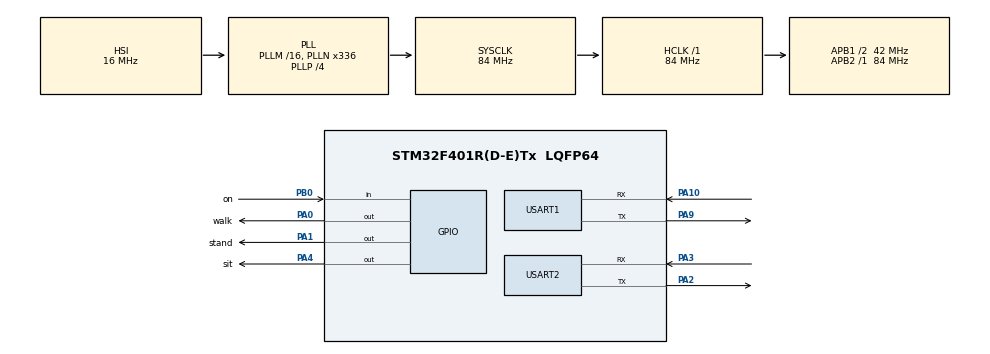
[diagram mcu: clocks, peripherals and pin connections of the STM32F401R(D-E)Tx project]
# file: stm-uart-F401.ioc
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Mcu.Family=STM32F4
Mcu.Name=STM32F401R(D-E)Tx
Mcu.Package=LQFP64
NVIC.PriorityGroup=NVIC_PRIORITYGROUP_0
NVIC.USART1_IRQn=true\:0\:0\:false\:false\:true\:true\:true\:true
PA0-WKUP.GPIO_Label=walk
PA0-WKUP.GPIO_Speed=GPIO_SPEED_FREQ_VERY_HIGH
PA0-WKUP.Signal=GPIO_Output
PA1.GPIO_Label=stand
PA1.GPIO_Speed=GPIO_SPEED_FREQ_VERY_HIGH
PA1.Signal=GPIO_Output
PA10.Mode=Asynchronous
PA10.Signal=USART1_RX
PA2.Mode=Asynchronous
PA2.Signal=USART2_TX
PA3.Mode=Asynchronous
PA3.Signal=USART2_RX
PA4.GPIO_Label=sit
PA4.GPIO_Speed=GPIO_SPEED_FREQ_VERY_HIGH
PA4.Signal=GPIO_Output
PA9.Mode=Asynchronous
PA9.Signal=USART1_TX
PB0.GPIO_Label=on
PB0.GPIO_PuPd=GPIO_PULLUP
PB0.Signal=GPIO_Input
ProjectManager.HeapSize=0x200
ProjectManager.StackSize=0x400
ProjectManager.TargetToolchain=STM32CubeIDE
RCC.48MHZClocksFreq_Value=48000000
RCC.AHBFreq_Value=84000000
RCC.APB1CLKDivider=RCC_HCLK_DIV2
RCC.APB1Freq_Value=42000000
RCC.APB1TimFreq_Value=84000000
RCC.APB2Freq_Value=84000000
RCC.APB2TimFreq_Value=84000000
RCC.CortexFreq_Value=84000000
RCC.HCLKFreq_Value=84000000
RCC.HSE_VALUE=8000000
RCC.HSI_VALUE=16000000
RCC.LSE_VALUE=32768
RCC.PLLN=336
RCC.PLLP=RCC_PLLP_DIV4
RCC.PLLQ=7
RCC.SYSCLKFreq_VALUE=84000000
RCC.SYSCLKSource=RCC_SYSCLKSOURCE_PLLCLK
RCC.VCOOutputFreq_Value=336000000
USART1.VirtualMode=VM_ASYNC
USART2.VirtualMode=VM_ASYNC
board=NUCLEO-F401RE

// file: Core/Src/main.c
/* USER CODE BEGIN Header */
/**
  ******************************************************************************
  * @file           : main.c
  * @brief          : Main program body
  ******************************************************************************
  * @attention
  *
  * Copyright (c) 2023 STMicroelectronics.
  * All rights reserved.
  *
  * This software is licensed under terms that can be found in the LICENSE file
  * in the root directory of this software component.
  * If no LICENSE file comes with this software, it is provided AS-IS.
  *
  ******************************************************************************
  */
/* USER CODE END Header */
#include "main.h"

/* USER CODE BEGIN Includes */
#include <stdio.h>
#include <string.h>
#include <time.h>
/* USER CODE END Includes */

UART_HandleTypeDef huart1;
UART_HandleTypeDef huart2;

/* USER CODE BEGIN PV */
#define BUFFER_SIZE 4
uint8_t dataReceived[BUFFER_SIZE] = {7};
uint8_t receiveSize = 0;
HAL_StatusTypeDef status_rx = 0;
uint8_t buttonOnOff = 0;
/* USER CODE END PV */

void SystemClock_Config(void);
static void MX_GPIO_Init(void);
static void MX_USART1_UART_Init(void);
static void MX_USART2_UART_Init(void);

/* USER CODE BEGIN 0 */
int	_write(int file, char *ptr, int len) {
//	for (int i = 0; i < len; i++) {
//		ITM_SendChar((*ptr++));
//	}
	HAL_UART_Transmit(&huart2, (uint8_t *)ptr, len, HAL_MAX_DELAY);
		return (len);
}
/* USER CODE END 0 */

int main(void)
{

  /* MCU Configuration--------------------------------------------------------*/

  /* Reset of all peripherals, Initializes the Flash interface and the Systick. */
  HAL_Init();

  /* Configure the system clock */
  SystemClock_Config();

  /* Initialize all configured peripherals */
  MX_GPIO_Init();
  MX_USART1_UART_Init();
  MX_USART2_UART_Init();

  /* Infinite loop */
  /* USER CODE BEGIN WHILE */
  printf("\n\n\n\n\n\n\n\n\n\n\n\n\n\n\r\nDEBUT BUENO\n\n\n\n\n\n\n\n\n\n\n");
  HAL_UART_Receive_IT(&huart1, dataReceived, BUFFER_SIZE);
  while (1)
  {
    /* USER CODE END WHILE */

    /* USER CODE BEGIN 3 */
	  if (HAL_GPIO_ReadPin(on_GPIO_Port, on_Pin) == GPIO_PIN_RESET) {
		  if (buttonOnOff == 1) {
			  buttonOnOff = 0;
			  uint8_t msg[BUFFER_SIZE] = "S0\r\n";
			  printf("buttonOnOff = 0\r\n");
			  HAL_UART_Transmit_IT(&huart1, msg, BUFFER_SIZE);
			  HAL_Delay(500);
		  } else {
			  buttonOnOff = 1;
			  uint8_t msg[BUFFER_SIZE] = "S1\r\n";
			  printf("buttonOnOff = 1\r\n");
			  HAL_UART_Transmit_IT(&huart1, msg, BUFFER_SIZE);
			  HAL_Delay(500);
		  }
	  }

//	  printf("EXO_STATUS: %d\r\n", HAL_GPIO_ReadPin(on_GPIO_Port, on_Pin));
//	  if (HAL_GPIO_ReadPin(on_GPIO_Port, on_Pin) == GPIO_PIN_RESET && buttonOnOff == 0) {
//		  buttonOnOff = 1;
//		  uint8_t msg[BUFFER_SIZE] = "S1\r\n";
//		  printf("exo_status = 1\r\n");
//		  	HAL_UART_Transmit_IT(&huart1, msg, BUFFER_SIZE);
//	  } else if (HAL_GPIO_ReadPin(on_GPIO_Port, on_Pin) == GPIO_PIN_SET && buttonOnOff == 1) {
//		  buttonOnOff = 0;
//		  uint8_t msg[BUFFER_SIZE] = "S0\r\n";
//		  printf("exo_status = 0\r\n");
//		  HAL_UART_Transmit_IT(&huart1, msg, BUFFER_SIZE);
//	  }
  }
  /* USER CODE END 3 */
}

void SystemClock_Config(void)
{
  RCC_OscInitTypeDef RCC_OscInitStruct = {0};
  RCC_ClkInitTypeDef RCC_ClkInitStruct = {0};

  /** Configure the main internal regulator output voltage
  */
  __HAL_RCC_PWR_CLK_ENABLE();
  __HAL_PWR_VOLTAGESCALING_CONFIG(PWR_REGULATOR_VOLTAGE_SCALE2);

  /** Initializes the RCC Oscillators according to the specified parameters
  * in the RCC_OscInitTypeDef structure.
  */
  RCC_OscInitStruct.OscillatorType = RCC_OSCILLATORTYPE_HSI;
  RCC_OscInitStruct.HSIState = RCC_HSI_ON;
  RCC_OscInitStruct.HSICalibrationValue = RCC_HSICALIBRATION_DEFAULT;
  RCC_OscInitStruct.PLL.PLLState = RCC_PLL_ON;
  RCC_OscInitStruct.PLL.PLLSource = RCC_PLLSOURCE_HSI;
  RCC_OscInitStruct.PLL.PLLM = 16;
  RCC_OscInitStruct.PLL.PLLN = 336;
  RCC_OscInitStruct.PLL.PLLP = RCC_PLLP_DIV4;
  RCC_OscInitStruct.PLL.PLLQ = 7;
  if (HAL_RCC_OscConfig(&RCC_OscInitStruct) != HAL_OK)
  {
    Error_Handler();
  }

  /** Initializes the CPU, AHB and APB buses clocks
  */
  RCC_ClkInitStruct.ClockType = RCC_CLOCKTYPE_HCLK|RCC_CLOCKTYPE_SYSCLK
                              |RCC_CLOCKTYPE_PCLK1|RCC_CLOCKTYPE_PCLK2;
  RCC_ClkInitStruct.SYSCLKSource = RCC_SYSCLKSOURCE_PLLCLK;
  RCC_ClkInitStruct.AHBCLKDivider = RCC_SYSCLK_DIV1;
  RCC_ClkInitStruct.APB1CLKDivider = RCC_HCLK_DIV2;
  RCC_ClkInitStruct.APB2CLKDivider = RCC_HCLK_DIV1;

  if (HAL_RCC_ClockConfig(&RCC_ClkInitStruct, FLASH_LATENCY_2) != HAL_OK)
  {
    Error_Handler();
  }
}

static void MX_USART1_UART_Init(void)
{

  huart1.Instance = USART1;
  huart1.Init.BaudRate = 115200;
  huart1.Init.WordLength = UART_WORDLENGTH_8B;
  huart1.Init.StopBits = UART_STOPBITS_1;
  huart1.Init.Parity = UART_PARITY_NONE;
  huart1.Init.Mode = UART_MODE_TX_RX;
  huart1.Init.HwFlowCtl = UART_HWCONTROL_NONE;
  huart1.Init.OverSampling = UART_OVERSAMPLING_16;
  if (HAL_UART_Init(&huart1) != HAL_OK)
  {
    Error_Handler();
  }

}

static void MX_USART2_UART_Init(void)
{

  huart2.Instance = USART2;
  huart2.Init.BaudRate = 115200;
  huart2.Init.WordLength = UART_WORDLENGTH_8B;
  huart2.Init.StopBits = UART_STOPBITS_1;
  huart2.Init.Parity = UART_PARITY_NONE;
  huart2.Init.Mode = UART_MODE_TX_RX;
  huart2.Init.HwFlowCtl = UART_HWCONTROL_NONE;
  huart2.Init.OverSampling = UART_OVERSAMPLING_16;
  if (HAL_UART_Init(&huart2) != HAL_OK)
  {
    Error_Handler();
  }

}

static void MX_GPIO_Init(void)
{
  GPIO_InitTypeDef GPIO_InitStruct = {0};

  /* GPIO Ports Clock Enable */
  __HAL_RCC_GPIOA_CLK_ENABLE();
  __HAL_RCC_GPIOB_CLK_ENABLE();

  /*Configure GPIO pin Output Level */
  HAL_GPIO_WritePin(GPIOA, walk_Pin|stand_Pin|sit_Pin, GPIO_PIN_RESET);

  /*Configure GPIO pins : walk_Pin stand_Pin sit_Pin */
  GPIO_InitStruct.Pin = walk_Pin|stand_Pin|sit_Pin;
  GPIO_InitStruct.Mode = GPIO_MODE_OUTPUT_PP;
  GPIO_InitStruct.Pull = GPIO_NOPULL;
  GPIO_InitStruct.Speed = GPIO_SPEED_FREQ_VERY_HIGH;
  HAL_GPIO_Init(GPIOA, &GPIO_InitStruct);

  /*Configure GPIO pin : on_Pin */
  GPIO_InitStruct.Pin = on_Pin;
  GPIO_InitStruct.Mode = GPIO_MODE_INPUT;
  GPIO_InitStruct.Pull = GPIO_PULLUP;
  HAL_GPIO_Init(on_GPIO_Port, &GPIO_InitStruct);

}

/* USER CODE BEGIN 4 */
void analyze_positions(uint8_t *msg)
{
	if (strlen((char *)msg) < 2) {
		printf("Erreur msg trop court\n");
		return;
	}
	if (msg[0] == 'P') {
		HAL_GPIO_WritePin(sit_GPIO_Port, sit_Pin, GPIO_PIN_RESET);
		HAL_GPIO_WritePin(stand_GPIO_Port, stand_Pin, GPIO_PIN_RESET);
		HAL_GPIO_WritePin(walk_GPIO_Port, walk_Pin, GPIO_PIN_RESET);
		switch (msg[1]) {
			case '1':
				printf("Assis\n");
				HAL_GPIO_WritePin(sit_GPIO_Port, sit_Pin, GPIO_PIN_SET);
				break;
			case '2':
				printf("Debout\n");
				HAL_GPIO_WritePin(stand_GPIO_Port, stand_Pin, GPIO_PIN_SET);
				break;
			case '3':
				printf("Walk\n");
				HAL_GPIO_WritePin(walk_GPIO_Port, walk_Pin, GPIO_PIN_SET);
				break;
			default:
				printf("Erreur : analyze_positions msg[1] = %c\n", msg[1]);
				break;
		}
	}
}

void HAL_UART_RxCpltCallback(UART_HandleTypeDef *huart)
{
	printf("%s\r\n", dataReceived);
	analyze_positions(dataReceived);
	HAL_UART_Transmit_IT(&huart1, dataReceived, BUFFER_SIZE);
	HAL_UART_Receive_IT(&huart1, dataReceived, BUFFER_SIZE);

}

void HAL_UART_TxCpltCallback(UART_HandleTypeDef *huart)
{
	printf("BIEN ENVOYE\r\n");

}
/* USER CODE END 4 */

void Error_Handler(void)
{
  __disable_irq();
  while (1)
  {
  }
}
